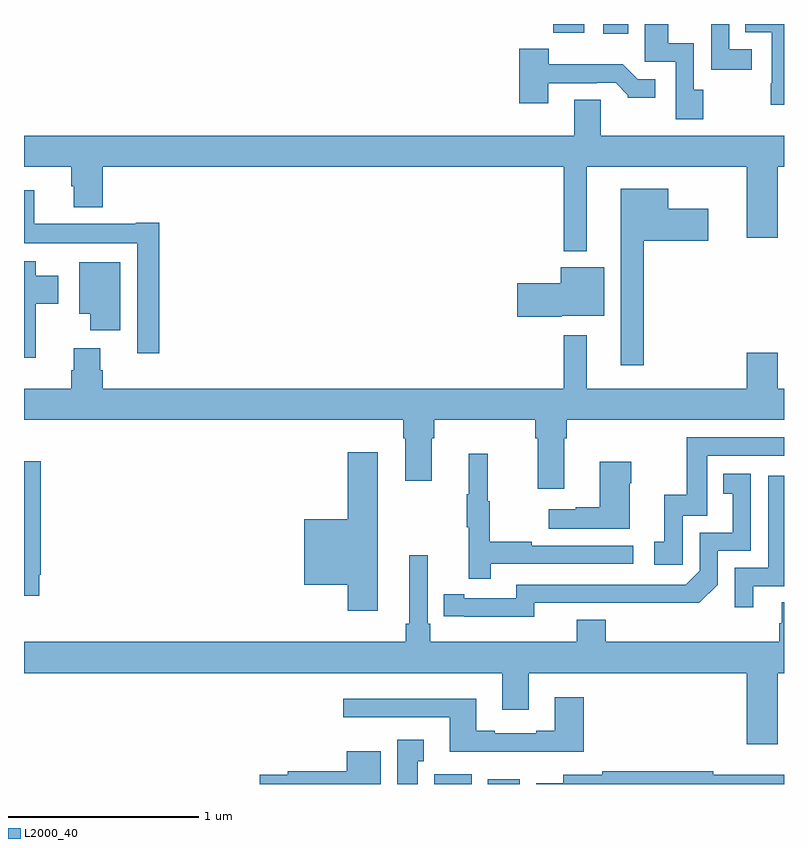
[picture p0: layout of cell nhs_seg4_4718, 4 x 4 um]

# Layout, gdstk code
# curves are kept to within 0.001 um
import gdstk
lib = gdstk.Library(unit=1e-6, precision=1e-09)
def R(c, l, rs):  # rectangles x0, y0, x1, y1
    for r in rs: c.add(gdstk.rectangle(r[:2], r[2:], *l))
def P(c, l, *ps):  # polygons
    for p in ps: c.add(gdstk.Polygon(p, *l))
L2000_40 = (2000, 40)

nhs_seg4_4718 = lib.new_cell('nhs_seg4_4718')
R(nhs_seg4_4718, L2000_40, [(367.16,798.9,367.357,798.952), (367.442,798.9,367.609,798.925), (368.048,802.848,368.179,802.9), (367.786,802.853,367.948,802.9)])
P(nhs_seg4_4718, L2000_40, [(368.83,802.767),(368.712,802.767),(368.712,802.9),(368.616,802.9),(368.616,802.659),(368.83,802.659)],
  [(369,802.9),(368.797,802.9),(368.797,802.856),(368.936,802.856),(368.936,802.588),(368.929,802.588),(368.929,802.476),(369,802.476)],
  [(368.574,802.554),(368.526,802.554),(368.526,802.798),(368.392,802.798),(368.392,802.9),(368.267,802.9),(368.267,802.701),(368.43,802.701),(368.43,802.398),(368.574,802.398)],
  [(367.759,802.587),(368.015,802.587),(368.015,802.59),(368.114,802.59),(368.178,802.526),(368.178,802.511),(368.323,802.511),(368.323,802.608),(368.229,802.608),(368.151,802.687),(367.762,802.687),(367.762,802.771),(367.607,802.771),(367.607,802.482),(367.759,802.482)],
  [(367.963,802.148),(368.804,802.148),(368.804,801.774),(368.968,801.774),(368.968,802.148),(369,802.148),(369,802.312),(368.035,802.312),(368.035,802.502),(367.895,802.502),(367.895,802.312),(365,802.312),(365,802.148),(365.249,802.148),(365.249,802.047),(365.261,802.047),(365.261,801.935),(365.414,801.935),(365.414,802.148),(367.842,802.148),(367.842,801.704),(367.963,801.704)],
  [(368.263,801.758),(368.602,801.758),(368.602,801.928),(368.392,801.928),(368.392,802.033),(368.141,802.033),(368.141,801.105),(368.263,801.105)],
  [(365.711,801.853),(365.588,801.853),(365.588,801.85),(365.054,801.85),(365.054,802.024),(365,802.024),(365,801.746),(365.595,801.746),(365.595,801.168),(365.711,801.168)],
  [(365.062,801.427),(365.179,801.427),(365.179,801.574),(365.062,801.574),(365.062,801.652),(365,801.652),(365,801.144),(365.062,801.144)],
  [(365.506,801.646),(365.291,801.646),(365.291,801.374),(365.348,801.374),(365.348,801.288),(365.506,801.288)],
  [(367.83,801.365),(368.053,801.365),(368.053,801.619),(367.826,801.619),(367.826,801.536),(367.596,801.536),(367.596,801.358),(367.83,801.358)],
  [(365.414,801.078),(365.401,801.078),(365.401,801.193),(365.261,801.193),(365.261,801.078),(365.249,801.078),(365.249,800.98),(365,800.98),(365,800.816),(366.995,800.816),(366.995,800.72),(367.007,800.72),(367.007,800.496),(367.147,800.496),(367.147,800.72),(367.16,800.72),(367.16,800.816),(367.691,800.816),(367.691,800.72),(367.703,800.72),(367.703,800.454),(367.843,800.454),(367.843,800.72),(367.856,800.72),(367.856,800.816),(369,800.816),(369,800.98),(368.968,800.98),(368.968,801.169),(368.804,801.169),(368.804,800.98),(367.963,800.98),(367.963,801.262),(367.842,801.262),(367.842,800.98),(365.414,800.98)],
  [(368.466,800.313),(368.595,800.313),(368.595,800.628),(369,800.628),(369,800.724),(368.487,800.724),(368.487,800.422),(368.369,800.422),(368.369,800.175),(368.316,800.175),(368.316,800.055),(368.466,800.055)],
  [(366.862,800.647),(366.704,800.647),(366.704,800.293),(366.476,800.293),(366.476,799.949),(366.704,799.949),(366.704,799.812),(366.862,799.812)],
  [(367.457,800.058),(368.206,800.058),(368.206,800.154),(367.673,800.154),(367.673,800.174),(367.45,800.174),(367.45,800.388),(367.442,800.388),(367.442,800.638),(367.34,800.638),(367.34,800.425),(367.329,800.425),(367.329,800.251),(367.34,800.251),(367.34,799.98),(367.457,799.98)],
  [(365.08,800.002),(365.087,800.002),(365.087,800.6),(365,800.6),(365,799.89),(365.08,799.89)],
  [(368.188,800.483),(368.196,800.483),(368.196,800.596),(368.03,800.596),(368.03,800.357),(367.904,800.357),(367.904,800.347),(367.761,800.347),(367.761,800.243),(368.188,800.243)],
  [(367.686,799.854),(368.554,799.853),(368.652,799.95),(368.652,800.127),(368.826,800.127),(368.826,800.533),(368.68,800.533),(368.68,800.427),(368.729,800.427),(368.729,800.223),(368.556,800.223),(368.556,800.022),(368.484,799.95),(367.59,799.95),(367.59,799.878),(367.318,799.878),(367.318,799.898),(367.21,799.898),(367.21,799.782),(367.686,799.781)],
  [(368.839,799.941),(369,799.941),(369,800.523),(368.916,800.523),(368.916,800.037),(368.742,800.037),(368.742,799.83),(368.839,799.83)],
  [(368.968,799.484),(369,799.484),(369,799.856),(368.987,799.856),(368.987,799.746),(368.975,799.746),(368.975,799.648),(368.063,799.648),(368.063,799.765),(367.91,799.765),(367.91,799.648),(367.139,799.648),(367.139,799.744),(367.125,799.744),(367.125,800.104),(367.028,800.104),(367.028,799.744),(367.009,799.744),(367.009,799.648),(365,799.648),(365,799.484),(367.517,799.484),(367.517,799.29),(367.657,799.29),(367.657,799.484),(368.804,799.484),(368.804,799.11),(368.968,799.11)],
  [(367.946,799.357),(367.793,799.357),(367.793,799.18),(367.697,799.18),(367.697,799.167),(367.477,799.167),(367.477,799.18),(367.381,799.18),(367.381,799.348),(366.681,799.348),(366.681,799.251),(367.241,799.251),(367.241,799.07),(367.946,799.07)],
  [(367.072,799.019),(367.105,799.019),(367.105,799.132),(366.965,799.132),(366.965,798.9),(367.072,798.9)],
  [(366.877,799.072),(366.698,799.072),(366.698,798.968),(366.388,798.968),(366.388,798.948),(366.242,798.948),(366.242,798.9),(366.877,798.9)],
  [(369,798.949),(368.628,798.949),(368.628,798.968),(368.044,798.968),(368.044,798.948),(367.838,798.948),(367.838,798.904),(367.697,798.904),(367.697,798.9),(369,798.9)])

lib.write_gds('nhs_seg4_4718.gds')
